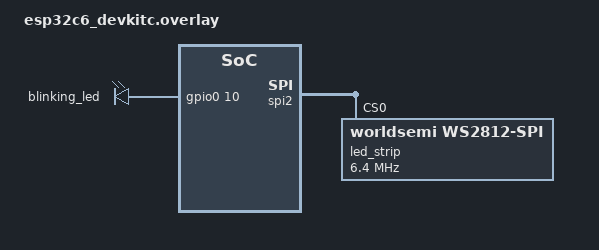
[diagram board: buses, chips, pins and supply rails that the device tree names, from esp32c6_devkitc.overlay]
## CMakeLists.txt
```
# SPDX-License-Identifier: Apache-2.0

cmake_minimum_required(VERSION 3.20.0)
set(CMAKE_EXPORT_COMPILE_COMMANDS ON)
find_package(Zephyr REQUIRED HINTS $ENV{ZEPHYR_BASE})
project(demo)

include(demo.cmake)
target_sources(app PRIVATE "bsp.c")
target_include_directories(app PUBLIC "${CMAKE_SOURCE_DIR}")
target_include_directories(app PUBLIC "${CMAKE_SOURCE_DIR}/../modules/hal/espressif/components/soc/esp32c6/include/soc")
```

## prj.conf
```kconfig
CONFIG_INIT_STACKS=y
CONFIG_STACK_USAGE=y
CONFIG_STACK_SENTINEL=y
CONFIG_PIPES=y
CONFIG_COUNTER=y
CONFIG_LED_STRIP=y
```

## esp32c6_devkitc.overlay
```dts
#include <zephyr/dt-bindings/led/led.h>

&spi2 {
	/* Workaround to support WS2812 driver */
	line-idle-low;

	led_strip: ws2812@0 {
		compatible = "worldsemi,ws2812-spi";

		/* SPI */
		reg = <0>; /* ignored, but necessary for SPI bindings */
		spi-max-frequency = <6400000>;

		/* WS2812 */
		chain-length = <1>; /* arbitrary; change at will */
		spi-cpha;
		spi-one-frame = <0xf0>; /* 11110000: 625 ns high and 625 ns low */
		spi-zero-frame = <0xc0>; /* 11000000: 312.5 ns high and 937.5 ns low */
		color-mapping = <LED_COLOR_ID_GREEN
				 LED_COLOR_ID_RED
				 LED_COLOR_ID_BLUE>;
	};
};

&pinctrl {
	spim2_default: spim2_default {
		group2 {
			pinmux = <SPIM2_MOSI_GPIO8>;
		};
	};
};

/ {
	leds {
		compatible = "gpio-leds";
		blinking_led:led0 {
			gpios = <&gpio0 10 GPIO_ACTIVE_HIGH>;
		};
	};
	aliases {
		led-strip = &led_strip;
	};
};
```

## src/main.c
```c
/*
 * Copyright (c) 2012-2014 Wind River Systems, Inc.
 *
 * SPDX-License-Identifier: Apache-2.0
 */

#include <stdio.h>

int main(void)
{
	printf("Mehmet Aslan! %s\n", CONFIG_BOARD_TARGET);

	return 0;
}
```
